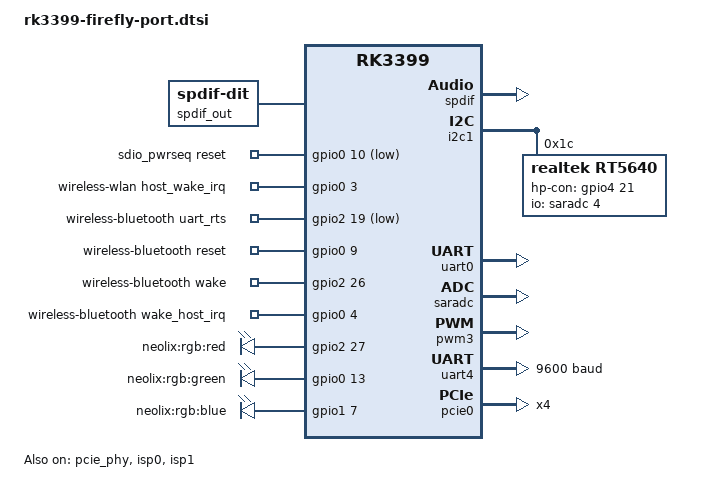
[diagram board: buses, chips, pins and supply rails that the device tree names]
/*
 * Copyright (c) 2016 Fuzhou Rockchip Electronics Co., Ltd
 *
 * This file is dual-licensed: you can use it either under the terms
 * of the GPL or the X11 license, at your option. Note that this dual
 * licensing only applies to this file, and not this project as a
 * whole.
 *
 *  a) This file is free software; you can redistribute it and/or
 *     modify it under the terms of the GNU General Public License as
 *     published by the Free Software Foundation; either version 2 of the
 *     License, or (at your option) any later version.
 *
 *     This file is distributed in the hope that it will be useful,
 *     but WITHOUT ANY WARRANTY; without even the implied warranty of
 *     MERCHANTABILITY or FITNESS FOR A PARTICULAR PURPOSE.  See the
 *     GNU General Public License for more details.
 *
 * Or, alternatively,
 *
 *  b) Permission is hereby granted, free of charge, to any person
 *     obtaining a copy of this software and associated documentation
 *     files (the "Software"), to deal in the Software without
 *     restriction, including without limitation the rights to use,
 *     copy, modify, merge, publish, distribute, sublicense, and/or
 *     sell copies of the Software, and to permit persons to whom the
 *     Software is furnished to do so, subject to the following
 *     conditions:
 *
 *     The above copyright notice and this permission notice shall be
 *     included in all copies or substantial portions of the Software.
 *
 *     THE SOFTWARE IS PROVIDED "AS IS", WITHOUT WARRANTY OF ANY KIND,
 *     EXPRESS OR IMPLIED, INCLUDING BUT NOT LIMITED TO THE WARRANTIES
 *     OF MERCHANTABILITY, FITNESS FOR A PARTICULAR PURPOSE AND
 *     NONINFRINGEMENT. IN NO EVENT SHALL THE AUTHORS OR COPYRIGHT
 *     HOLDERS BE LIABLE FOR ANY CLAIM, DAMAGES OR OTHER LIABILITY,
 *     WHETHER IN AN ACTION OF CONTRACT, TORT OR OTHERWISE, ARISING
 *     FROM, OUT OF OR IN CONNECTION WITH THE SOFTWARE OR THE USE OR
 *     OTHER DEALINGS IN THE SOFTWARE.
 */

#include <dt-bindings/input/input.h>
#include "rk3399-firefly-core.dtsi"
#include "rk3399-firefly-demo.dtsi"

/ {
	compatible = "rockchip,rk3399-firefly-port", "rockchip,rk3399";

	rt5640-sound {
		compatible = "simple-audio-card";
		simple-audio-card,format = "i2s";
		simple-audio-card,name = "rockchip,rt5640-codec";
		simple-audio-card,mclk-fs = <256>;
		simple-audio-card,widgets =
			"Microphone", "Mic Jack",
			"Headphone", "Headphone Jack";
		simple-audio-card,routing =
			"Mic Jack", "MICBIAS1",
			"IN1P", "Mic Jack",
			"Headphone Jack", "HPOL",
			"Headphone Jack", "HPOR";
		simple-audio-card,cpu {
			sound-dai = <&i2s1>;
		};
		simple-audio-card,codec {
			sound-dai = <&rt5640>;
		};
	};

	spdif-sound {
		status = "okay";
		compatible = "simple-audio-card";
		simple-audio-card,name = "ROCKCHIP,SPDIF";
		simple-audio-card,cpu {
			sound-dai = <&spdif>;
		};
		simple-audio-card,codec {
			sound-dai = <&spdif_out>;
		};
	};

	spdif_out: spdif-out {
		status = "okay";
		compatible = "linux,spdif-dit";
		#sound-dai-cells = <0>;
	};

	sdio_pwrseq: sdio-pwrseq {
		compatible = "mmc-pwrseq-simple";
		clocks = <&rk808 1>;
		clock-names = "ext_clock";
		pinctrl-names = "default";
		pinctrl-0 = <&wifi_enable_h>;

		/*
		 * On the module itself this is one of these (depending
		 * on the actual card populated):
		 * - SDIO_RESET_L_WL_REG_ON
		 * - PDN (power down when low)
		 */
		reset-gpios = <&gpio0 10 GPIO_ACTIVE_LOW>; /* GPIO0_B2 */
	};

	wireless-wlan {
		compatible = "wlan-platdata";
		rockchip,grf = <&grf>;
		wifi_chip_type = "ap6356s";
		sdio_vref = <1800>;
		WIFI,host_wake_irq = <&gpio0 3 GPIO_ACTIVE_HIGH>; /* GPIO0_a3 */
		status = "okay";
	};

	wireless-bluetooth {
		compatible = "bluetooth-platdata";
		clocks = <&rk808 1>;
		clock-names = "ext_clock";
		//wifi-bt-power-toggle;
		uart_rts_gpios = <&gpio2 19 GPIO_ACTIVE_LOW>; /* GPIO2_C3 */
		pinctrl-names = "default", "rts_gpio";
		pinctrl-0 = <&uart0_rts>;
		pinctrl-1 = <&uart0_gpios>;
		//BT,power_gpio  = <&gpio3 19 GPIO_ACTIVE_HIGH>; /* GPIOx_xx */
		BT,reset_gpio    = <&gpio0 9 GPIO_ACTIVE_HIGH>; /* GPIO0_B1 */
		BT,wake_gpio     = <&gpio2 26 GPIO_ACTIVE_HIGH>; /* GPIO2_D2 */
		BT,wake_host_irq = <&gpio0 4 GPIO_ACTIVE_HIGH>; /* GPIO0_A4 */
		status = "okay";
	};
#if 0
    leds {
       compatible = "gpio-leds";
       power1 {
           label = "firefly:blue:power";
           linux,default-trigger = "ir-power-click";
           default-state = "on";
           gpios = <&gpio2 27 GPIO_ACTIVE_HIGH>;
           pinctrl-names = "default";
           pinctrl-0 = <&led_power>;
       };
       user1 {
           label = "firefly:yellow:user";
           linux,default-trigger = "ir-user-click";
           default-state = "off";
           gpios = <&gpio0 13 GPIO_ACTIVE_HIGH>;
           pinctrl-names = "default";
           pinctrl-0 = <&led_user>;
       };
   };
#endif
   neolix_rgb {
       compatible = "gpio-leds";
       red {
           label = "neolix:rgb:red";
           linux,default-trigger = "ir-power-click";
           default-state = "off";
           gpios = <&gpio2 27 GPIO_ACTIVE_HIGH>;
           pinctrl-names = "neolix_rgb_red";
           pinctrl-0 = <&rgb_red>;
       };
       green {
           label = "neolix:rgb:green";
           linux,default-trigger = "ir-user-click";
           default-state = "off";
           gpios = <&gpio0 13 GPIO_ACTIVE_HIGH>;
           pinctrl-names = "neolix_rgb_green";
           pinctrl-0 = <&rgb_green>;
       };
       blue {
           label = "neolix:rgb:blue";
           linux,default-trigger = "ir-user-click";
           default-state = "off";
           gpios = <&gpio1 7 GPIO_ACTIVE_HIGH>;
           pinctrl-names = "neolix_rgb_blue";
           pinctrl-0 = <&rgb_blue>;
       };
   };
};

&spdif {
	status = "okay";
	pinctrl-0 = <&spdif_bus_1>;
	i2c-scl-rising-time-ns = <450>;
	i2c-scl-falling-time-ns = <15>;
	#sound-dai-cells = <0>;
};

&i2c1 {
	status = "okay";
	i2c-scl-rising-time-ns = <300>;
	i2c-scl-falling-time-ns = <15>;

	rt5640: rt5640@1c {
		#sound-dai-cells = <0>;
		compatible = "realtek,rt5640";
		reg = <0x1c>;
		clocks = <&cru SCLK_I2S_8CH_OUT>;
		clock-names = "mclk";
		realtek,in1-differential;
		pinctrl-names = "default";
		pinctrl-0 = <&rt5640_hpcon>;
		hp-con-gpio = <&gpio4 21 GPIO_ACTIVE_HIGH>;
		//hp-det-gpio = <&gpio4 28 GPIO_ACTIVE_LOW>;
		io-channels = <&saradc 4>;
		hp-det-adc-value = <500>;
	};
};

&uart0 {
	pinctrl-names = "default";
	pinctrl-0 = <&uart0_xfer &uart0_cts>;
	status = "okay";
};

&saradc {
	status = "okay";
};

&rockchip_suspend {
	status = "okay";
	rockchip,sleep-debug-en = <1>;
	rockchip,sleep-mode-config = <
		(0
		| RKPM_SLP_ARMPD
		| RKPM_SLP_PERILPPD
		| RKPM_SLP_DDR_RET
		| RKPM_SLP_PLLPD
		| RKPM_SLP_CENTER_PD
		| RKPM_SLP_AP_PWROFF
		)
		>;
	rockchip,wakeup-config = <
		(0
		| RKPM_GPIO_WKUP_EN
		| RKPM_PWM_WKUP_EN
		)
		>;
		rockchip,pwm-regulator-config = <
		(0
		| PWM2_REGULATOR_EN
		)
		>;
		rockchip,power-ctrl =
		<&gpio1 17 GPIO_ACTIVE_HIGH>,
		<&gpio1 14 GPIO_ACTIVE_HIGH>;
};

&pinctrl {
	sdio-pwrseq {
		wifi_enable_h: wifi-enable-h {
			rockchip,pins =
				<0 10 RK_FUNC_GPIO &pcfg_pull_none>;
		};
	};

	wireless-bluetooth {
		uart0_gpios: uart0-gpios {
			rockchip,pins =
				<2 19 RK_FUNC_GPIO &pcfg_pull_none>;
		};
	};

	rt5640 {
		rt5640_hpcon: rt5640-hpcon {
			rockchip,pins = <4 21 RK_FUNC_GPIO &pcfg_pull_none>;
		};
	};

	neolix_rgb {
		rgb_red: rgb-red {
			rockchip,pins = <2 27 RK_FUNC_GPIO &pcfg_pull_none>;
		};

		rgb_green: rgb-green {
			rockchip,pins = <0 13 RK_FUNC_GPIO &pcfg_pull_none>;
		};
		rgb_blue: rgb-blue {
			rockchip,pins = <1 7 RK_FUNC_GPIO &pcfg_pull_none>;
		};
	};
	

};

&pwm3 {
	status = "okay";
	interrupts = <GIC_SPI 61 IRQ_TYPE_LEVEL_HIGH 0>;
	compatible = "rockchip,remotectl-pwm";
	remote_pwm_id = <3>;
	handle_cpu_id = <0>;

    ir_key1{
        rockchip,usercode = <0xff00>;
        rockchip,key_table =
            <0xeb   KEY_POWER>,
            <0xec   KEY_MENU>,
            <0xfe   KEY_BACK>,
            <0xb7   KEY_HOME>,
            <0xa3   KEY_WWW>,
            <0xf4   KEY_VOLUMEUP>,
            <0xa7   KEY_VOLUMEDOWN>,
            <0xf8   KEY_REPLY>,
            <0xfc   KEY_UP>,
            <0xfd   KEY_DOWN>,
            <0xf1   KEY_LEFT>,
            <0xe5   KEY_RIGHT>;
    };
};

&uart4 {
	current-speed = <9600>;
	no-loopback-test;
	status = "okay";
};

&pcie_phy {
            status = "okay";
};
&pcie0 {
            ep-gpios = <&gpio3 13 GPIO_ACTIVE_HIGH>;
            num-lanes = <4>;
            pinctrl-names = "default";
            pinctrl-0 = <&pcie_clkreqn>;
            status = "okay";
};


&isp0 {
        status = "okay";
        rockchip,gpios = <&gpio1 22 GPIO_ACTIVE_HIGH>;
};

&isp1 {
        status = "okay";
        rockchip,gpios = <&gpio1 22 GPIO_ACTIVE_HIGH>;
};

&isp0_mmu {
    status = "okay";
};

&isp1_mmu {
    status = "okay";
};

